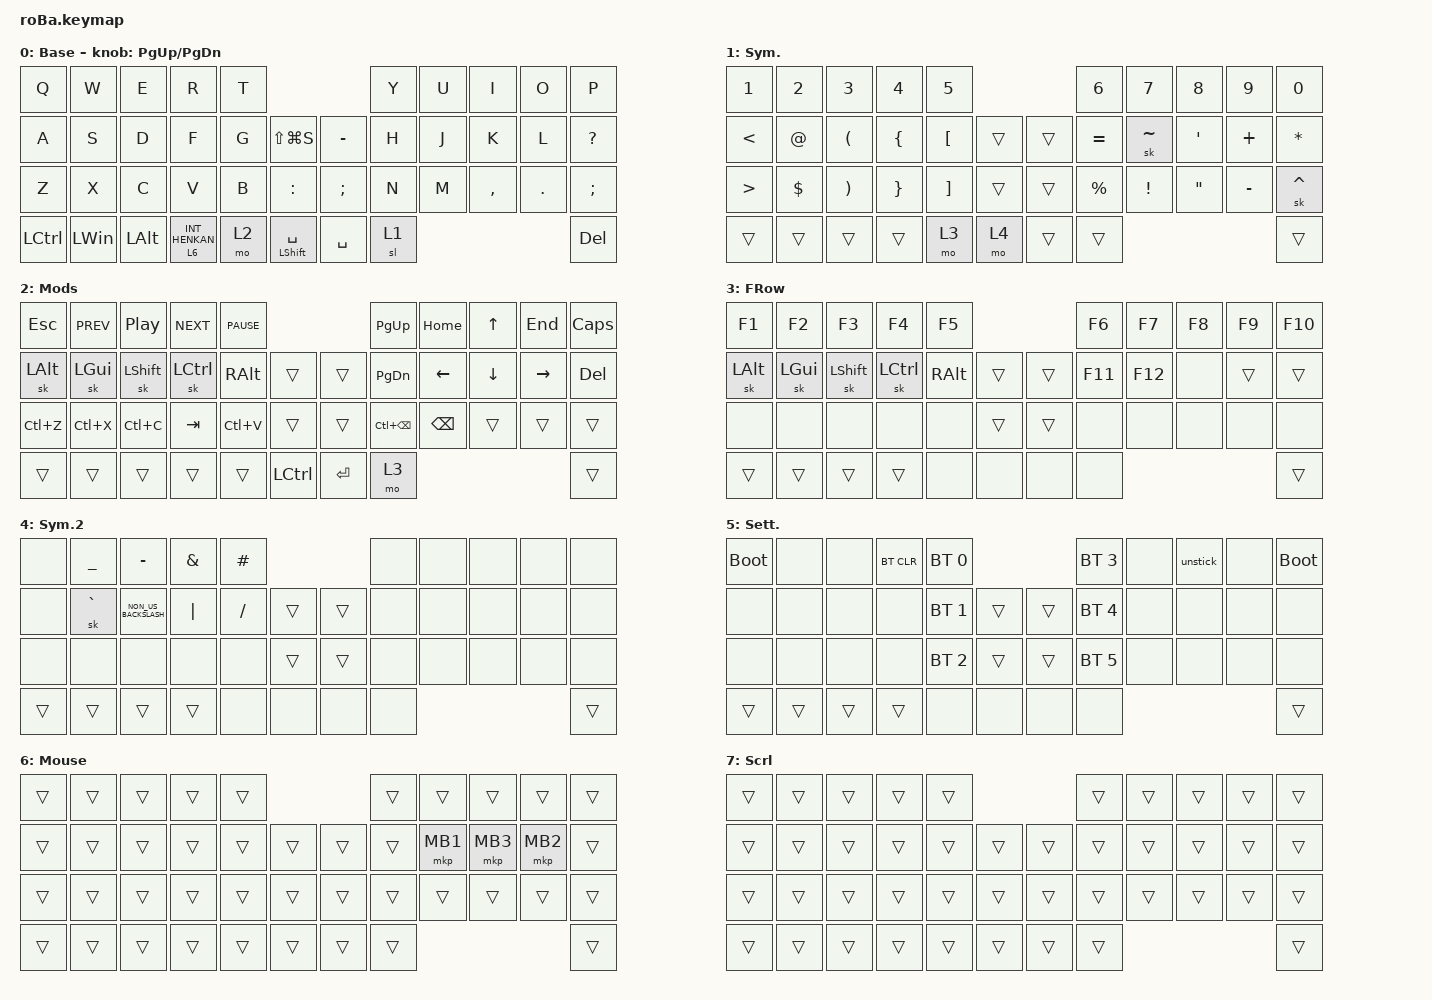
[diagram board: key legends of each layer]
#include "keymap_brazilian_abnt2.h"
#include "keycodes.h"
#include <behaviors.dtsi>
#include <dt-bindings/zmk/bt.h>
#include <dt-bindings/zmk/keys.h>
#include <dt-bindings/zmk/pointing.h>

&sk { ignore-modifiers; };

&mt {
    flavor = "balanced";
    quick-tap-ms = <0>;
};

&trackball {
    automouse-layer = <6>;
    scroll-layers = <7>;
};

/ {
    behaviors {
        qt: quick_tap {
            compatible = "zmk,behavior-hold-tap";
            label = "QUICK_TAP";
            #binding-cells = <2>;
            flavor = "hold-preferred";
            tapping-term-ms = <200>;
            quick-tap-ms = <200>;
            bindings = <&kp>, <&kp>;
        };

        lt_to_layer_0: lt_to_layer_0 {
            compatible = "zmk,behavior-hold-tap";
            label = "LAYER_TAP_TO_0";
            #binding-cells = <2>;
            tapping-term-ms = <200>;
            bindings = <&mo>, <&to_layer_0>;
        };
    };

    macros {
        to_layer_0: to_layer_0 {
            compatible = "zmk,behavior-macro-one-param";
            #binding-cells = <1>;
            bindings = <&to 0 &macro_param_1to1 &kp MACRO_PLACEHOLDER>;
            label = "TO_LAYER_0";
        };

        unstick: unstick {
            compatible = "zmk,behavior-macro";
            #binding-cells = <0>;
            bindings = <&kp LSHIFT &kp RSHIFT &kp LCTRL &kp RCTRL &kp LALT &kp RALT &kp LGUI &kp RGUI>;
            label = "ZM_unstick";
        };

        caret: caret {
            compatible = "zmk,behavior-macro";
            #binding-cells = <0>;
            bindings = <&sk LS(NUMBER_6) &kp E>;
            label = "CARET";
        };

        quote: quote {
            compatible = "zmk,behavior-macro";
            #binding-cells = <0>;
            bindings = <&sk LS(SINGLE_QUOTE) &kp E>;
            label = "QUOTE";
        };

        tilde: tilde {
            compatible = "zmk,behavior-macro";
            #binding-cells = <0>;
            bindings = <&sk TILDE &kp A>;
            label = "TILDE";
        };

        accent: accent {
            compatible = "zmk,behavior-macro";
            #binding-cells = <0>;
            bindings = <&sk GRAVE &kp A>;
            label = "ACCENT";
        };

        crtlAlt: crtlAlt {
            compatible = "zmk,behavior-macro";
            #binding-cells = <0>;
            bindings = <&kp RCTRL &kp LEFT_ALT>;
            label = "CRTLALT";
        };
    };

    combos {
        compatible = "zmk,combos";

        combo_accent {
            timeout-ms = <200>;
            key-positions = <41 39>;
            bindings = <&mo 0>;
        };

        combo_sym2 {
            timeout-ms = <200>;
            key-positions = <41 40>;
            bindings = <&mo 4>;
        };

        combo_settings {
            timeout-ms = <200>;
            key-positions = <38 39>;
            bindings = <&mo 5>;
        };

        Backspace {
            bindings = <&kp BACKSPACE>;
            key-positions = <14 13>;
        };

        Tab {
            bindings = <&kp TAB>;
            key-positions = <4 3>;
        };

        Esc {
            bindings = <&kp ESCAPE>;
            key-positions = <0 1>;
        };

        Ctrl-stiky {
            bindings = <&sk LEFT_CONTROL>;
            key-positions = <22 23>;
        };

        Shift_sticky {
            bindings = <&sk LEFT_SHIFT>;
            key-positions = <10 11>;
        };

        Play-Pause {
            bindings = <&kp C_PLAY_PAUSE>;
            key-positions = <2 3>;
        };

        Enter {
            bindings = <&kp RETURN>;
            key-positions = <25 24 26>;
        };

        Linguagem {
            bindings = <&kp LG(SPACE)>;
            key-positions = <38 39 40 41>;
        };

        enter2 {
            bindings = <&kp RETURN>;
            key-positions = <29 30 31>;
        };

        backspace2 {
            bindings = <&kp BACKSPACE>;
            key-positions = <17 18>;
        };

        ControlAlt {
            bindings = <&crtlAlt>;
            key-positions = <22 10 0>;
        };

        PrintScreem {
            bindings = <&kp PRINTSCREEN>;
            key-positions = <0 4>;
        };

        FormatarVS {
            bindings = <&kp LA(LS(F))>;
            key-positions = <22 26>;
        };

        Terminal {
            bindings = <&kp LC(GRAVE)>;
            key-positions = <14 22>;
        };

        CtrlB {
            bindings = <&kp LC(B)>;
            key-positions = <22 4>;
        };

        Comment {
            bindings = <&kp LC(SLASH)>;
            key-positions = <10 14>;
        };
    };

    keymap {
        compatible = "zmk,keymap";

        default_layer {
            label = "Base";
            bindings = <
&kp Q      &kp W         &kp E         &kp R                        &kp T                                       &kp Y  &kp U  &kp I      &kp O    &kp P
&kp A      &kp S         &kp D         &kp F                        &kp G  &kp LS(LG(S))         &kp MINUS      &kp H  &kp J  &kp K      &kp L    &kp QMARK
&kp Z      &kp X         &kp C         &kp V                        &kp B  &kp COLON             &kp SEMICOLON  &kp N  &kp M  &kp COMMA  &kp DOT  &kp SEMICOLON
&kp LCTRL  &kp LEFT_WIN  &kp LEFT_ALT  &lt_to_layer_0 6 INT_HENKAN  &mo 2  &qt LSHIFT SPACE      &kp SPACE      &sl 1                             &kp DEL
            >;

            sensor-bindings = <&inc_dec_kp PG_UP PAGE_DOWN>;
        };

        sym_layer {
            label = "Sym.";
            bindings = <
&kp N1            &kp N2       &kp N3                 &kp NUMBER_4     &kp N5                                 &kp NUMBER_6  &kp N7           &kp N8             &kp N9     &kp N0
&kp LESS_THAN     &kp AT_SIGN  &kp LEFT_PARENTHESIS   &kp LEFT_BRACE   &kp LEFT_BRACKET   &trans      &trans  &kp EQUAL     &sk TILDE        &kp SINGLE_QUOTE   &kp PLUS   &kp ASTERISK
&kp GREATER_THAN  &kp DOLLAR   &kp RIGHT_PARENTHESIS  &kp RIGHT_BRACE  &kp RIGHT_BRACKET  &trans      &trans  &kp PERCENT   &kp EXCLAMATION  &kp DOUBLE_QUOTES  &kp MINUS  &sk CARET
&trans            &trans       &trans                 &trans           &mo 3              &mo 4       &trans  &trans                                                       &trans
            >;
        };

        ext_layer {
            label = "Mods";
            bindings = <
&kp ESC    &kp C_PREV  &kp C_PP    &kp C_NEXT  &kp C_PAUSE                            &kp PG_UP     &kp HOME  &kp UP    &kp END    &kp CAPS
&sk LALT   &sk LGUI    &sk LSHIFT  &sk LCTRL   &kp RALT     &trans         &trans     &kp PG_DN     &kp LEFT  &kp DOWN  &kp RIGHT  &kp DEL
&kp LC(Z)  &kp LC(X)   &kp LC(C)   &kp TAB     &kp LC(V)    &trans         &trans     &kp LC(BSPC)  &kp BSPC  &trans    &trans     &trans
&trans     &trans      &trans      &trans      &trans       &kp LCTRL      &kp ENTER  &mo 3                                        &trans
            >;
        };

        fnc_layer {
            label = "FRow";
            bindings = <
&kp F1    &kp F2    &kp F3      &kp F4     &kp F5                        &kp F6   &kp F7   &kp F8  &kp F9  &kp F10
&sk LALT  &sk LGUI  &sk LSHIFT  &sk LCTRL  &kp RALT  &trans      &trans  &kp F11  &kp F12  &none   &trans  &trans
&none     &none     &none       &none      &none     &trans      &trans  &none    &none    &none   &none   &none
&trans    &trans    &trans      &trans     &none     &none       &none   &none                             &trans
            >;
        };

        symbols_2_layer {
            label = "Sym.2";
            bindings = <
&none   &kp UNDERSCORE  &kp MINUS             &kp AMPERSAND  &kp POUND                      &none  &none  &none  &none  &none
&none   &sk GRAVE       &kp NON_US_BACKSLASH  &kp PIPE       &kp SLASH  &trans      &trans  &none  &none  &none  &none  &none
&none   &none           &none                 &none          &none      &trans      &trans  &none  &none  &none  &none  &none
&trans  &trans          &trans                &trans         &none      &none       &none   &none                       &trans
            >;
        };

        settings_layer {
            label = "Sett.";
            bindings = <
&bootloader  &none   &none   &bt BT_CLR  &bt BT_SEL 0                      &bt BT_SEL 3  &none  &unstick  &none  &bootloader
&none        &none   &none   &none       &bt BT_SEL 1  &trans      &trans  &bt BT_SEL 4  &none  &none     &none  &none
&none        &none   &none   &none       &bt BT_SEL 2  &trans      &trans  &bt BT_SEL 5  &none  &none     &none  &none
&trans       &trans  &trans  &trans      &none         &none       &none   &none                                 &trans
            >;
        };

        mouse_layer {
            label = "Mouse";
            bindings = <
&trans  &trans  &trans  &trans  &trans                      &trans  &trans    &trans    &trans    &trans
&trans  &trans  &trans  &trans  &trans  &trans      &trans  &trans  &mkp MB1  &mkp MB3  &mkp MB2  &trans
&trans  &trans  &trans  &trans  &trans  &trans      &trans  &trans  &trans    &trans    &trans    &trans
&trans  &trans  &trans  &trans  &trans  &trans      &trans  &trans                                &trans
            >;
        };

        scroll_layer {
            label = "Scrl";
            bindings = <
&trans  &trans  &trans  &trans  &trans                      &trans  &trans  &trans  &trans  &trans
&trans  &trans  &trans  &trans  &trans  &trans      &trans  &trans  &trans  &trans  &trans  &trans
&trans  &trans  &trans  &trans  &trans  &trans      &trans  &trans  &trans  &trans  &trans  &trans
&trans  &trans  &trans  &trans  &trans  &trans      &trans  &trans                          &trans
            >;
        };
    };
};
